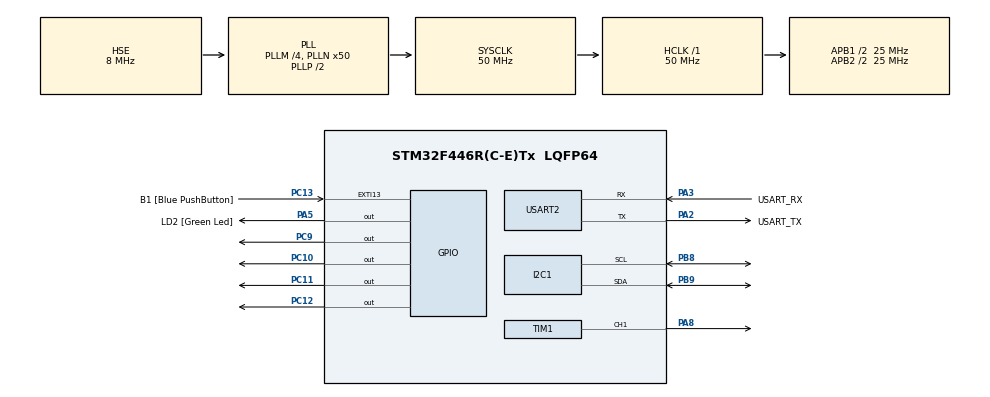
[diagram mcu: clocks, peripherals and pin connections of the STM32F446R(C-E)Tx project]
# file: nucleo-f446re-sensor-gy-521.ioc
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Mcu.Family=STM32F4
Mcu.Name=STM32F446R(C-E)Tx
Mcu.Package=LQFP64
NVIC.EXTI15_10_IRQn=true\:0\:0\:false\:false\:true\:true\:true
NVIC.PriorityGroup=NVIC_PRIORITYGROUP_0
PA13.GPIO_Label=TMS
PA13.Mode=Serial_Wire
PA13.Signal=SYS_JTMS-SWDIO
PA14.GPIO_Label=TCK
PA14.Mode=Serial_Wire
PA14.Signal=SYS_JTCK-SWCLK
PA2.GPIO_Label=USART_TX
PA2.Mode=Asynchronous
PA2.Signal=USART2_TX
PA3.GPIO_Label=USART_RX
PA3.Mode=Asynchronous
PA3.Signal=USART2_RX
PA5.GPIO_Label=LD2 [Green Led]
PA5.Signal=GPIO_Output
PA8.Signal=S_TIM1_CH1
PB3.GPIO_Label=SWO
PB3.Signal=SYS_JTDO-SWO
PB8.Mode=I2C
PB8.Signal=I2C1_SCL
PB9.Mode=I2C
PB9.Signal=I2C1_SDA
PC10.Signal=GPIO_Output
PC11.Signal=GPIO_Output
PC12.Signal=GPIO_Output
PC13.GPIO_Label=B1 [Blue PushButton]
PC13.GPIO_ModeDefaultEXTI=GPIO_MODE_IT_FALLING
PC13.Signal=GPXTI13
PC14-OSC32_IN.Signal=RCC_OSC32_IN
PC15-OSC32_OUT.Signal=RCC_OSC32_OUT
PC9.Signal=GPIO_Output
PH0-OSC_IN.Mode=HSE-External-Oscillator
PH0-OSC_IN.Signal=RCC_OSC_IN
PH1-OSC_OUT.Mode=HSE-External-Oscillator
PH1-OSC_OUT.Signal=RCC_OSC_OUT
ProjectManager.HeapSize=0x200
ProjectManager.StackSize=0x400
ProjectManager.TargetToolchain=STM32CubeIDE
RCC.48MHZClocksFreq_Value=84000000
RCC.AHBFreq_Value=50000000
RCC.APB1CLKDivider=RCC_HCLK_DIV2
RCC.APB1Freq_Value=25000000
RCC.APB1TimFreq_Value=50000000
RCC.APB2CLKDivider=RCC_HCLK_DIV2
RCC.APB2Freq_Value=25000000
RCC.APB2TimFreq_Value=50000000
RCC.CortexFreq_Value=50000000
RCC.FLatency-AdvancedSettings=FLASH_LATENCY_1
RCC.HCLKFreq_Value=50000000
RCC.HSE_VALUE=8000000
RCC.HSI_VALUE=16000000
RCC.PLLM=4
RCC.PLLN=50
RCC.PLLSourceVirtual=RCC_PLLSOURCE_HSE
RCC.SYSCLKFreq_VALUE=50000000
RCC.SYSCLKSource=RCC_SYSCLKSOURCE_PLLCLK
RCC.USBFreq_Value=50000000
RCC.VCOOutputFreq_Value=100000000
SH.S_TIM1_CH1.0=TIM1_CH1,PWM Generation1 CH1
TIM1.Channel-PWM\ Generation1\ CH1=TIM_CHANNEL_1
TIM1.Period=1000-1
TIM1.Prescaler=1000-1
USART2.VirtualMode=VM_ASYNC
VP_TIM1_VS_ClockSourceINT.Mode=Internal
board=NUCLEO-F446RE

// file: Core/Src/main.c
/* USER CODE BEGIN Header */
/**
 ******************************************************************************
 * @file           : main.c
 * @brief          : Main program body
 ******************************************************************************
 * @attention
 *
 * <h2><center>&copy; Copyright (c) 2020 STMicroelectronics.
 * All rights reserved.</center></h2>
 *
 * This software component is licensed by ST under BSD 3-Clause license,
 * the "License"; You may not use this file except in compliance with the
 * License. You may obtain a copy of the License at:
 *                        opensource.org/licenses/BSD-3-Clause
 *
 ******************************************************************************
 */
/* USER CODE END Header */

#include "main.h"

/* USER CODE BEGIN Includes */
#include "i2c-lcd.h"
/* USER CODE END Includes */

I2C_HandleTypeDef hi2c1;

TIM_HandleTypeDef htim1;

UART_HandleTypeDef huart2;

void SystemClock_Config(void);
static void MX_GPIO_Init(void);
static void MX_USART2_UART_Init(void);
static void MX_I2C1_Init(void);
static void MX_TIM1_Init(void);

/* USER CODE BEGIN 0 */
#define WHO_AM_I_REG	0x75
#define MPU6050_ADDR	0xD0
#define PWR_MGMT_1_REG  0x6B
#define SMPLRT_DIV_REG  0x19
#define ACCEL_CONFIG_REG	0x1C
#define GYRO_CONFIG_REG		0x1B
#define ACCEL_XOUT_H_REG 	0x3B
#define GYRO_XOUT_H_REG		0x43

int16_t Accel_X_RAW = 0, Accel_Y_RAW = 0, Accel_Z_RAW = 0;
float Ax, Ay, Az;

int16_t Gyro_X_RAW = 0, Gyro_Y_RAW = 0, Gyro_Z_RAW = 0;
float Gx, Gy, Gz;

void MPU6050_Init(void) {
	uint8_t check, data;

	HAL_I2C_Mem_Read(&hi2c1, MPU6050_ADDR, WHO_AM_I_REG, 1, &check, 1, 1000);

	if (check == 0x68) {
		data = 0;
		HAL_I2C_Mem_Write(&hi2c1, MPU6050_ADDR, PWR_MGMT_1_REG, 1, &data, 1,
				1000);

		//data rate 1kHz
		data = 0x07;
		HAL_I2C_Mem_Write(&hi2c1, MPU6050_ADDR, SMPLRT_DIV_REG, 1, &data, 1,
				1000);

		data = 0x00;
		HAL_I2C_Mem_Write(&hi2c1, MPU6050_ADDR, ACCEL_CONFIG_REG, 1, &data, 1,
				1000);

		data = 0x00;
		HAL_I2C_Mem_Write(&hi2c1, MPU6050_ADDR, GYRO_CONFIG_REG, 1, &data, 1,
				1000);
	}
}

void MPU6050_Read_Accel(void) {
	uint8_t Rec_Data[6];

	HAL_I2C_Mem_Read(&hi2c1, MPU6050_ADDR, ACCEL_XOUT_H_REG, 1, Rec_Data, 6,
			1000);

	Accel_X_RAW = (int16_t) (Rec_Data[0] << 8 | Rec_Data[1]);
	Accel_Y_RAW = (int16_t) (Rec_Data[2] << 8 | Rec_Data[3]);
	Accel_Z_RAW = (int16_t) (Rec_Data[4] << 8 | Rec_Data[5]);

	Ax = Accel_X_RAW / 16384.0;
	Ay = Accel_Y_RAW / 16384.0;
	Az = Accel_Z_RAW / 16384.0;
}

void MPU6050_Read_Gyro(void) {
	uint8_t Rec_Data[6];

	HAL_I2C_Mem_Read(&hi2c1, MPU6050_ADDR, GYRO_XOUT_H_REG, 1, Rec_Data, 6,
			1000);

	Gyro_X_RAW = (int16_t) (Rec_Data[0] << 8 | Rec_Data[1]);
	Gyro_Y_RAW = (int16_t) (Rec_Data[2] << 8 | Rec_Data[3]);
	Gyro_Z_RAW = (int16_t) (Rec_Data[4] << 8 | Rec_Data[5]);

	Gx = Gyro_X_RAW / 131.0;
	Gy = Gyro_Y_RAW / 131.0;
	Gz = Gyro_Z_RAW / 131.0;
}

float round(float var) {
	// 37.66666 * 100 =3766.66
	// 3766.66 + .5 =3767.16    for rounding off value
	// then type cast to int so value is 3767
	// then divided by 100 so the value converted into 37.67
	float value = (int) (var * 100 + .5);
	return (float) value / 100;
}

uint8_t convertAyToPWMSignal(void)
{
	uint8_t convert2Positive = (uint8_t) (Ay+2);
	return 40*convert2Positive;
}

void HAL_GPIO_EXTI_Callback(uint16_t GPIO_Pin)
{
	if(GPIO_Pin == GPIO_PIN_13){
		htim1.Instance->CCR1 = convertAyToPWMSignal();
	}
}
/* USER CODE END 0 */

int main(void)
{
  /* USER CODE BEGIN 1 */
	char buf[3];
  /* USER CODE END 1 */

  /* MCU Configuration--------------------------------------------------------*/

  /* Reset of all peripherals, Initializes the Flash interface and the Systick. */
  HAL_Init();

  /* Configure the system clock */
  SystemClock_Config();

  /* Initialize all configured peripherals */
  MX_GPIO_Init();
  MX_USART2_UART_Init();
  MX_I2C1_Init();
  MX_TIM1_Init();
  /* USER CODE BEGIN 2 */
	HAL_TIM_PWM_Start(&htim1, TIM_CHANNEL_1);

	lcd_init();
	MPU6050_Init();

	lcd_send_string("Starting...");

	HAL_Delay(1000);

	lcd_clear();

	lcd_send_cmd(0x80 | 0x04);
	lcd_send_string("MPU6050");

	lcd_clear();
  /* USER CODE END 2 */

  /* Infinite loop */
  /* USER CODE BEGIN WHILE */
	while (1) {
		MPU6050_Read_Accel();
		MPU6050_Read_Gyro();

		lcd_send_cmd(0x80 | 0x00);
		lcd_send_string("Ax");

//		lcd_send_cmd(0x80 | 0x06);
//		lcd_send_string("Ay");

		lcd_send_cmd(0x80 | 0x0C);
		lcd_send_string("Ay");

		/////////////////////////////

		lcd_send_cmd(0x80 | 0x40);
		sprintf(buf, "%.1f", Ax);
		lcd_send_string(buf);

//		lcd_send_cmd(0x80 | 0x46);
//		sprintf(buf, "%.1f", Ay);
//		lcd_send_string(buf);

		lcd_send_cmd(0x80 | 0x4C);
		sprintf(buf, "%.1f", Ay);
		lcd_send_string(buf);

		if (round(Ax) >= 0.01 && round(Ay) >= 0.01) {
			HAL_GPIO_WritePin(GPIOC, GPIO_PIN_9, GPIO_PIN_SET);
			HAL_GPIO_WritePin(GPIOC, GPIO_PIN_10, GPIO_PIN_SET);
			HAL_GPIO_WritePin(GPIOC, GPIO_PIN_12, GPIO_PIN_SET);
			HAL_GPIO_WritePin(GPIOC, GPIO_PIN_11, GPIO_PIN_RESET);
		} else if (round(Ax) >= 0.01 && round(Ay) <= -0.01) {
			HAL_GPIO_WritePin(GPIOC, GPIO_PIN_9, GPIO_PIN_SET);
			HAL_GPIO_WritePin(GPIOC, GPIO_PIN_10, GPIO_PIN_SET);
			HAL_GPIO_WritePin(GPIOC, GPIO_PIN_11, GPIO_PIN_SET);
			HAL_GPIO_WritePin(GPIOC, GPIO_PIN_12, GPIO_PIN_RESET);
		} else if (round(Ax) >= 0.01
				&& (round(Ay) < 0.009 || round(Ay) > -0.009)) {
			HAL_GPIO_WritePin(GPIOC, GPIO_PIN_9, GPIO_PIN_SET);
			HAL_GPIO_WritePin(GPIOC, GPIO_PIN_10, GPIO_PIN_SET);
			HAL_GPIO_WritePin(GPIOC, GPIO_PIN_12, GPIO_PIN_RESET);
			HAL_GPIO_WritePin(GPIOC, GPIO_PIN_11, GPIO_PIN_RESET);
		} else if (round(Ax) <= -0.01 && round(Ay) >= 0.01) {
			HAL_GPIO_WritePin(GPIOC, GPIO_PIN_10, GPIO_PIN_SET);
			HAL_GPIO_WritePin(GPIOC, GPIO_PIN_11, GPIO_PIN_SET);
			HAL_GPIO_WritePin(GPIOC, GPIO_PIN_12, GPIO_PIN_SET);

			HAL_GPIO_WritePin(GPIOC, GPIO_PIN_9, GPIO_PIN_RESET);
		} else if (round(Ax) <= -0.01 && round(Ay) <= -0.01) {
			HAL_GPIO_WritePin(GPIOC, GPIO_PIN_11, GPIO_PIN_SET);
			HAL_GPIO_WritePin(GPIOC, GPIO_PIN_12, GPIO_PIN_SET);
			HAL_GPIO_WritePin(GPIOC, GPIO_PIN_9, GPIO_PIN_SET);

			HAL_GPIO_WritePin(GPIOC, GPIO_PIN_10, GPIO_PIN_RESET);
		} else if (round(Ax) <= -0.01
				&& (round(Ay) < 0.009 || round(Ay) > -0.009)) {
			HAL_GPIO_WritePin(GPIOC, GPIO_PIN_11, GPIO_PIN_SET);
			HAL_GPIO_WritePin(GPIOC, GPIO_PIN_12, GPIO_PIN_SET);

			HAL_GPIO_WritePin(GPIOC, GPIO_PIN_10, GPIO_PIN_RESET);
			HAL_GPIO_WritePin(GPIOC, GPIO_PIN_9, GPIO_PIN_RESET);
		} else if ((round(Ax) < 0.009 || round(Ax) > -0.009)
				&& round(Ay) > 0.01) {
			HAL_GPIO_WritePin(GPIOC, GPIO_PIN_12, GPIO_PIN_SET);
			HAL_GPIO_WritePin(GPIOC, GPIO_PIN_10, GPIO_PIN_SET);

			HAL_GPIO_WritePin(GPIOC, GPIO_PIN_11, GPIO_PIN_RESET);
			HAL_GPIO_WritePin(GPIOC, GPIO_PIN_9, GPIO_PIN_RESET);
		} else if ((round(Ax) < 0.009 || round(Ax) > -0.009)
				&& round(Ay) < -0.01) {
			HAL_GPIO_WritePin(GPIOC, GPIO_PIN_12, GPIO_PIN_RESET);
			HAL_GPIO_WritePin(GPIOC, GPIO_PIN_10, GPIO_PIN_RESET);

			HAL_GPIO_WritePin(GPIOC, GPIO_PIN_11, GPIO_PIN_SET);
			HAL_GPIO_WritePin(GPIOC, GPIO_PIN_9, GPIO_PIN_SET);
		} else {
			HAL_GPIO_WritePin(GPIOC, GPIO_PIN_9, GPIO_PIN_RESET);
			HAL_GPIO_WritePin(GPIOC, GPIO_PIN_10, GPIO_PIN_RESET);

			HAL_GPIO_WritePin(GPIOC, GPIO_PIN_11, GPIO_PIN_RESET);
			HAL_GPIO_WritePin(GPIOC, GPIO_PIN_12, GPIO_PIN_RESET);
		}

//		lcd_send_cmd(0x80 | 0x40);
//		sprintf(buf, "%.1f", Gx);
//		lcd_send_string(buf);
//
//		lcd_send_cmd(0x80 | 0x46);
//		sprintf(buf, "%.1f", Gy);
//		lcd_send_string(buf);
//
//		lcd_send_cmd(0x80 | 0x4B);
//		sprintf(buf, "%.1f", Gz);
//		lcd_send_string(buf);

		HAL_Delay(250);
    /* USER CODE END WHILE */

	}
}

void SystemClock_Config(void)
{
  RCC_OscInitTypeDef RCC_OscInitStruct = {0};
  RCC_ClkInitTypeDef RCC_ClkInitStruct = {0};

  /** Configure the main internal regulator output voltage
  */
  __HAL_RCC_PWR_CLK_ENABLE();
  __HAL_PWR_VOLTAGESCALING_CONFIG(PWR_REGULATOR_VOLTAGE_SCALE3);
  /** Initializes the CPU, AHB and APB busses clocks
  */
  RCC_OscInitStruct.OscillatorType = RCC_OSCILLATORTYPE_HSE;
  RCC_OscInitStruct.HSEState = RCC_HSE_ON;
  RCC_OscInitStruct.PLL.PLLState = RCC_PLL_ON;
  RCC_OscInitStruct.PLL.PLLSource = RCC_PLLSOURCE_HSE;
  RCC_OscInitStruct.PLL.PLLM = 4;
  RCC_OscInitStruct.PLL.PLLN = 50;
  RCC_OscInitStruct.PLL.PLLP = RCC_PLLP_DIV2;
  RCC_OscInitStruct.PLL.PLLQ = 2;
  RCC_OscInitStruct.PLL.PLLR = 2;
  if (HAL_RCC_OscConfig(&RCC_OscInitStruct) != HAL_OK)
  {
    Error_Handler();
  }
  /** Initializes the CPU, AHB and APB busses clocks
  */
  RCC_ClkInitStruct.ClockType = RCC_CLOCKTYPE_HCLK|RCC_CLOCKTYPE_SYSCLK
                              |RCC_CLOCKTYPE_PCLK1|RCC_CLOCKTYPE_PCLK2;
  RCC_ClkInitStruct.SYSCLKSource = RCC_SYSCLKSOURCE_PLLCLK;
  RCC_ClkInitStruct.AHBCLKDivider = RCC_SYSCLK_DIV1;
  RCC_ClkInitStruct.APB1CLKDivider = RCC_HCLK_DIV2;
  RCC_ClkInitStruct.APB2CLKDivider = RCC_HCLK_DIV2;

  if (HAL_RCC_ClockConfig(&RCC_ClkInitStruct, FLASH_LATENCY_1) != HAL_OK)
  {
    Error_Handler();
  }
}

static void MX_I2C1_Init(void)
{

  hi2c1.Instance = I2C1;
  hi2c1.Init.ClockSpeed = 100000;
  hi2c1.Init.DutyCycle = I2C_DUTYCYCLE_2;
  hi2c1.Init.OwnAddress1 = 0;
  hi2c1.Init.AddressingMode = I2C_ADDRESSINGMODE_7BIT;
  hi2c1.Init.DualAddressMode = I2C_DUALADDRESS_DISABLE;
  hi2c1.Init.OwnAddress2 = 0;
  hi2c1.Init.GeneralCallMode = I2C_GENERALCALL_DISABLE;
  hi2c1.Init.NoStretchMode = I2C_NOSTRETCH_DISABLE;
  if (HAL_I2C_Init(&hi2c1) != HAL_OK)
  {
    Error_Handler();
  }

}

static void MX_TIM1_Init(void)
{

  TIM_ClockConfigTypeDef sClockSourceConfig = {0};
  TIM_MasterConfigTypeDef sMasterConfig = {0};
  TIM_OC_InitTypeDef sConfigOC = {0};
  TIM_BreakDeadTimeConfigTypeDef sBreakDeadTimeConfig = {0};

  htim1.Instance = TIM1;
  htim1.Init.Prescaler = 1000-1;
  htim1.Init.CounterMode = TIM_COUNTERMODE_UP;
  htim1.Init.Period = 1000-1;
  htim1.Init.ClockDivision = TIM_CLOCKDIVISION_DIV1;
  htim1.Init.RepetitionCounter = 0;
  htim1.Init.AutoReloadPreload = TIM_AUTORELOAD_PRELOAD_DISABLE;
  if (HAL_TIM_Base_Init(&htim1) != HAL_OK)
  {
    Error_Handler();
  }
  sClockSourceConfig.ClockSource = TIM_CLOCKSOURCE_INTERNAL;
  if (HAL_TIM_ConfigClockSource(&htim1, &sClockSourceConfig) != HAL_OK)
  {
    Error_Handler();
  }
  if (HAL_TIM_PWM_Init(&htim1) != HAL_OK)
  {
    Error_Handler();
  }
  sMasterConfig.MasterOutputTrigger = TIM_TRGO_RESET;
  sMasterConfig.MasterSlaveMode = TIM_MASTERSLAVEMODE_DISABLE;
  if (HAL_TIMEx_MasterConfigSynchronization(&htim1, &sMasterConfig) != HAL_OK)
  {
    Error_Handler();
  }
  sConfigOC.OCMode = TIM_OCMODE_PWM1;
  sConfigOC.Pulse = 0;
  sConfigOC.OCPolarity = TIM_OCPOLARITY_HIGH;
  sConfigOC.OCNPolarity = TIM_OCNPOLARITY_HIGH;
  sConfigOC.OCFastMode = TIM_OCFAST_DISABLE;
  sConfigOC.OCIdleState = TIM_OCIDLESTATE_RESET;
  sConfigOC.OCNIdleState = TIM_OCNIDLESTATE_RESET;
  if (HAL_TIM_PWM_ConfigChannel(&htim1, &sConfigOC, TIM_CHANNEL_1) != HAL_OK)
  {
    Error_Handler();
  }
  sBreakDeadTimeConfig.OffStateRunMode = TIM_OSSR_DISABLE;
  sBreakDeadTimeConfig.OffStateIDLEMode = TIM_OSSI_DISABLE;
  sBreakDeadTimeConfig.LockLevel = TIM_LOCKLEVEL_OFF;
  sBreakDeadTimeConfig.DeadTime = 0;
  sBreakDeadTimeConfig.BreakState = TIM_BREAK_DISABLE;
  sBreakDeadTimeConfig.BreakPolarity = TIM_BREAKPOLARITY_HIGH;
  sBreakDeadTimeConfig.AutomaticOutput = TIM_AUTOMATICOUTPUT_DISABLE;
  if (HAL_TIMEx_ConfigBreakDeadTime(&htim1, &sBreakDeadTimeConfig) != HAL_OK)
  {
    Error_Handler();
  }
  HAL_TIM_MspPostInit(&htim1);

}

static void MX_USART2_UART_Init(void)
{

  huart2.Instance = USART2;
  huart2.Init.BaudRate = 115200;
  huart2.Init.WordLength = UART_WORDLENGTH_8B;
  huart2.Init.StopBits = UART_STOPBITS_1;
  huart2.Init.Parity = UART_PARITY_NONE;
  huart2.Init.Mode = UART_MODE_TX_RX;
  huart2.Init.HwFlowCtl = UART_HWCONTROL_NONE;
  huart2.Init.OverSampling = UART_OVERSAMPLING_16;
  if (HAL_UART_Init(&huart2) != HAL_OK)
  {
    Error_Handler();
  }

}

static void MX_GPIO_Init(void)
{
  GPIO_InitTypeDef GPIO_InitStruct = {0};

  /* GPIO Ports Clock Enable */
  __HAL_RCC_GPIOC_CLK_ENABLE();
  __HAL_RCC_GPIOH_CLK_ENABLE();
  __HAL_RCC_GPIOA_CLK_ENABLE();
  __HAL_RCC_GPIOB_CLK_ENABLE();

  /*Configure GPIO pin Output Level */
  HAL_GPIO_WritePin(LD2_GPIO_Port, LD2_Pin, GPIO_PIN_RESET);

  /*Configure GPIO pin Output Level */
  HAL_GPIO_WritePin(GPIOC, GPIO_PIN_9|GPIO_PIN_10|GPIO_PIN_11|GPIO_PIN_12, GPIO_PIN_RESET);

  /*Configure GPIO pin : B1_Pin */
  GPIO_InitStruct.Pin = B1_Pin;
  GPIO_InitStruct.Mode = GPIO_MODE_IT_FALLING;
  GPIO_InitStruct.Pull = GPIO_NOPULL;
  HAL_GPIO_Init(B1_GPIO_Port, &GPIO_InitStruct);

  /*Configure GPIO pin : LD2_Pin */
  GPIO_InitStruct.Pin = LD2_Pin;
  GPIO_InitStruct.Mode = GPIO_MODE_OUTPUT_PP;
  GPIO_InitStruct.Pull = GPIO_NOPULL;
  GPIO_InitStruct.Speed = GPIO_SPEED_FREQ_LOW;
  HAL_GPIO_Init(LD2_GPIO_Port, &GPIO_InitStruct);

  /*Configure GPIO pins : PC9 PC10 PC11 PC12 */
  GPIO_InitStruct.Pin = GPIO_PIN_9|GPIO_PIN_10|GPIO_PIN_11|GPIO_PIN_12;
  GPIO_InitStruct.Mode = GPIO_MODE_OUTPUT_PP;
  GPIO_InitStruct.Pull = GPIO_NOPULL;
  GPIO_InitStruct.Speed = GPIO_SPEED_FREQ_LOW;
  HAL_GPIO_Init(GPIOC, &GPIO_InitStruct);

  /* EXTI interrupt init*/
  HAL_NVIC_SetPriority(EXTI15_10_IRQn, 0, 0);
  HAL_NVIC_EnableIRQ(EXTI15_10_IRQn);

}

void Error_Handler(void)
{
}

/************************ (C) COPYRIGHT STMicroelectronics *****END OF FILE****/
